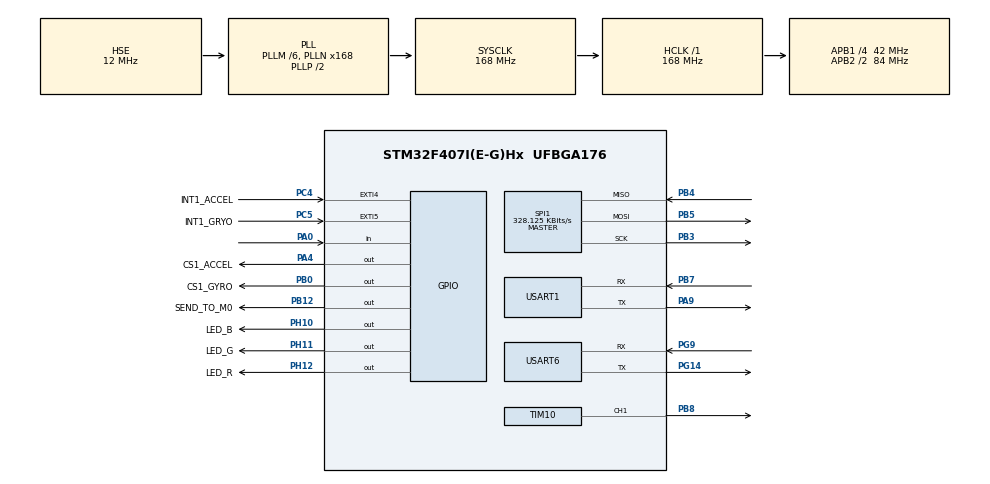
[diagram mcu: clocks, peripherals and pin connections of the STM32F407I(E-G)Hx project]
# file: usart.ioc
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Dma.Request0=USART6_RX
Dma.Request1=USART6_TX
Dma.Request2=SPI1_RX
Dma.Request3=SPI1_TX
Dma.SPI1_RX.2.Direction=DMA_PERIPH_TO_MEMORY
Dma.SPI1_RX.2.FIFOMode=DMA_FIFOMODE_DISABLE
Dma.SPI1_RX.2.Instance=DMA2_Stream0
Dma.SPI1_RX.2.MemDataAlignment=DMA_MDATAALIGN_BYTE
Dma.SPI1_RX.2.MemInc=DMA_MINC_ENABLE
Dma.SPI1_RX.2.Mode=DMA_NORMAL
Dma.SPI1_RX.2.PeriphDataAlignment=DMA_PDATAALIGN_BYTE
Dma.SPI1_RX.2.PeriphInc=DMA_PINC_DISABLE
Dma.SPI1_RX.2.Priority=DMA_PRIORITY_VERY_HIGH
Dma.SPI1_TX.3.Direction=DMA_MEMORY_TO_PERIPH
Dma.SPI1_TX.3.FIFOMode=DMA_FIFOMODE_DISABLE
Dma.SPI1_TX.3.Instance=DMA2_Stream3
Dma.SPI1_TX.3.MemDataAlignment=DMA_MDATAALIGN_BYTE
Dma.SPI1_TX.3.MemInc=DMA_MINC_ENABLE
Dma.SPI1_TX.3.Mode=DMA_NORMAL
Dma.SPI1_TX.3.PeriphDataAlignment=DMA_PDATAALIGN_BYTE
Dma.SPI1_TX.3.PeriphInc=DMA_PINC_DISABLE
Dma.SPI1_TX.3.Priority=DMA_PRIORITY_HIGH
Dma.USART6_RX.0.Direction=DMA_PERIPH_TO_MEMORY
Dma.USART6_RX.0.FIFOMode=DMA_FIFOMODE_DISABLE
Dma.USART6_RX.0.Instance=DMA2_Stream1
Dma.USART6_RX.0.MemDataAlignment=DMA_MDATAALIGN_BYTE
Dma.USART6_RX.0.MemInc=DMA_MINC_ENABLE
Dma.USART6_RX.0.Mode=DMA_NORMAL
Dma.USART6_RX.0.PeriphDataAlignment=DMA_PDATAALIGN_BYTE
Dma.USART6_RX.0.PeriphInc=DMA_PINC_DISABLE
Dma.USART6_RX.0.Priority=DMA_PRIORITY_MEDIUM
Dma.USART6_TX.1.Direction=DMA_MEMORY_TO_PERIPH
Dma.USART6_TX.1.FIFOMode=DMA_FIFOMODE_DISABLE
Dma.USART6_TX.1.Instance=DMA2_Stream6
Dma.USART6_TX.1.MemDataAlignment=DMA_MDATAALIGN_BYTE
Dma.USART6_TX.1.MemInc=DMA_MINC_ENABLE
Dma.USART6_TX.1.Mode=DMA_NORMAL
Dma.USART6_TX.1.PeriphDataAlignment=DMA_PDATAALIGN_BYTE
Dma.USART6_TX.1.PeriphInc=DMA_PINC_DISABLE
Dma.USART6_TX.1.Priority=DMA_PRIORITY_MEDIUM
Mcu.Family=STM32F4
Mcu.Name=STM32F407I(E-G)Hx
Mcu.Package=UFBGA176
NVIC.DMA2_Stream0_IRQn=true\:0\:0\:false\:false\:true\:false\:true\:true
NVIC.DMA2_Stream1_IRQn=true\:0\:0\:false\:false\:true\:false\:true\:true
NVIC.DMA2_Stream3_IRQn=true\:0\:0\:false\:false\:true\:false\:true\:true
NVIC.DMA2_Stream6_IRQn=true\:0\:0\:false\:false\:true\:false\:true\:true
NVIC.PriorityGroup=NVIC_PRIORITYGROUP_4
NVIC.USART1_IRQn=true\:0\:0\:false\:false\:false\:true\:true\:true
NVIC.USART6_IRQn=true\:0\:0\:false\:false\:false\:true\:true\:true
PA0-WKUP.GPIO_PuPd=GPIO_PULLUP
PA0-WKUP.Signal=GPIO_Input
PA13.Mode=Serial_Wire
PA13.Signal=SYS_JTMS-SWDIO
PA14.Mode=Serial_Wire
PA14.Signal=SYS_JTCK-SWCLK
PA4.GPIO_Label=CS1_ACCEL
PA4.GPIO_PuPd=GPIO_PULLUP
PA4.GPIO_Speed=GPIO_SPEED_FREQ_HIGH
PA4.PinState=GPIO_PIN_SET
PA4.Signal=GPIO_Output
PA9.Mode=Asynchronous
PA9.Signal=USART1_TX
PB0.GPIO_Label=CS1_GYRO
PB0.GPIO_PuPd=GPIO_PULLUP
PB0.GPIO_Speed=GPIO_SPEED_FREQ_HIGH
PB0.PinState=GPIO_PIN_SET
PB0.Signal=GPIO_Output
PB12.GPIO_Label=SEND_TO_M0
PB12.Signal=GPIO_Output
PB3.Mode=Full_Duplex_Master
PB3.Signal=SPI1_SCK
PB4.Mode=Full_Duplex_Master
PB4.Signal=SPI1_MISO
PB5.Mode=Full_Duplex_Master
PB5.Signal=SPI1_MOSI
PB7.Mode=Asynchronous
PB7.Signal=USART1_RX
PB8.GPIO_PuPd=GPIO_PULLUP
PB8.GPIO_Speed=GPIO_SPEED_FREQ_HIGH
PB8.Signal=S_TIM10_CH1
PC4.GPIO_Label=INT1_ACCEL
PC4.GPIO_ModeDefaultEXTI=GPIO_MODE_IT_FALLING
PC4.GPIO_PuPd=GPIO_PULLUP
PC4.Signal=GPXTI4
PC5.GPIO_Label=INT1_GRYO
PC5.GPIO_ModeDefaultEXTI=GPIO_MODE_IT_FALLING
PC5.GPIO_PuPd=GPIO_PULLUP
PC5.Signal=GPXTI5
PD5.Signal=USART2_TX
PD6.Signal=USART2_RX
PG14.Mode=Asynchronous
PG14.Signal=USART6_TX
PG9.Mode=Asynchronous
PG9.Signal=USART6_RX
PH0-OSC_IN.Mode=HSE-External-Oscillator
PH0-OSC_IN.Signal=RCC_OSC_IN
PH1-OSC_OUT.Mode=HSE-External-Oscillator
PH1-OSC_OUT.Signal=RCC_OSC_OUT
PH10.GPIO_Label=LED_B
PH10.GPIO_PuPd=GPIO_PULLUP
PH10.GPIO_Speed=GPIO_SPEED_FREQ_HIGH
PH10.PinState=GPIO_PIN_RESET
PH10.Signal=GPIO_Output
PH11.GPIO_Label=LED_G
PH11.GPIO_PuPd=GPIO_PULLUP
PH11.GPIO_Speed=GPIO_SPEED_FREQ_HIGH
PH11.PinState=GPIO_PIN_RESET
PH11.Signal=GPIO_Output
PH12.GPIO_Label=LED_R
PH12.GPIO_PuPd=GPIO_PULLUP
PH12.GPIO_Speed=GPIO_SPEED_FREQ_HIGH
PH12.PinState=GPIO_PIN_RESET
PH12.Signal=GPIO_Output
ProjectManager.HeapSize=0x200
ProjectManager.StackSize=0x400
ProjectManager.TargetToolchain=CMake
RCC.48MHZClocksFreq_Value=84000000
RCC.AHBFreq_Value=168000000
RCC.APB1CLKDivider=RCC_HCLK_DIV4
RCC.APB1Freq_Value=42000000
RCC.APB1TimFreq_Value=84000000
RCC.APB2CLKDivider=RCC_HCLK_DIV2
RCC.APB2Freq_Value=84000000
RCC.APB2TimFreq_Value=168000000
RCC.CortexFreq_Value=168000000
RCC.HCLKFreq_Value=168000000
RCC.HSE_VALUE=12000000
RCC.HSI_VALUE=16000000
RCC.LSE_VALUE=32768
RCC.PLLM=6
RCC.PLLN=168
RCC.PLLSourceVirtual=RCC_PLLSOURCE_HSE
RCC.SYSCLKFreq_VALUE=168000000
RCC.SYSCLKSource=RCC_SYSCLKSOURCE_PLLCLK
RCC.VCOOutputFreq_Value=336000000
SH.S_TIM10_CH1.0=TIM10_CH1,PWM Generation1 CH1
SPI1.BaudRatePrescaler=SPI_BAUDRATEPRESCALER_256
SPI1.CLKPhase=SPI_PHASE_2EDGE
SPI1.CLKPolarity=SPI_POLARITY_HIGH
SPI1.CalculateBaudRate=328.125 KBits/s
SPI1.Direction=SPI_DIRECTION_2LINES
SPI1.Mode=SPI_MODE_MASTER
SPI1.VirtualType=VM_MASTER
TIM10.Channel=TIM_CHANNEL_1
TIM10.Period=4999
USART1.VirtualMode=VM_ASYNC
USART6.VirtualMode=VM_ASYNC
VP_TIM10_VS_ClockSourceINT.Mode=Enable_Timer
board=custom

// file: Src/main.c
/* USER CODE BEGIN Header */
/**
  ******************************************************************************
  * @file           : main.c
  * @brief          : 平衡杆小球控制主程序。
  ******************************************************************************
  */
/* USER CODE END Header */

#include "main.h"
#include "dma.h"
#include "spi.h"
#include "tim.h"
#include "usart.h"
#include "gpio.h"

/* USER CODE BEGIN Includes */

#include "bsp_motor.h"
#include "task.h"

/* USER CODE END Includes */

/* USER CODE BEGIN PD */

/** @brief QD4310 电机地址。 */
#define MOTOR_ID              0x00U
/** @brief QD4310 DMA 事务总超时时间，单位为 ms。 */
#define MOTOR_TIMEOUT_MS      100U
/** @brief 任务选择与启动按键端口。 */
#define MOTOR_KEY_PORT        GPIOA
/** @brief 任务选择与启动按键引脚，低电平表示按下。 */
#define MOTOR_KEY_PIN         GPIO_PIN_0
/** @brief 视觉任务选择命令的 USART1 发送超时，单位为 ms。 */
#define VISION_TX_TIMEOUT_MS  100U

/* USER CODE END PD */

/* USER CODE BEGIN PV */

/** @brief USART6 电机 DMA 上下文。 */
static bsp_motor_t motor;
/** @brief 单按键任务选择器和调度器上下文。 */
static task_mgr_t task_mgr;
/** @brief TASK2 视觉控制上下文存储。 */
static app_control_t control;
/** @brief USART1 单字节中断接收缓存。 */
static uint8_t vision_rx_byte;
/** @brief USART1 视觉接收当前是否已启动。 */
static volatile uint8_t vision_rx_on;
/** @brief USART1 视觉接收是否需要由主循环重新启动。 */
static volatile uint8_t vision_rx_restart;

/* USER CODE END PV */

void SystemClock_Config(void);

/* USER CODE BEGIN 0 */

/**
 * @brief Send an application command to the vision module through USART1.
 * @param ctx USART1 handle passed by the board layer.
 * @param data Bytes to transmit.
 * @param len Number of bytes to transmit.
 */
static void Vision_Tx(void *ctx, const uint8_t *data, uint16_t len)
{
  UART_HandleTypeDef *uart = (UART_HandleTypeDef *)ctx;

  if ((uart == NULL) || (data == NULL) || (len == 0U))
  {
    return;
  }

  (void)HAL_UART_Transmit(uart, (uint8_t *)data, len, VISION_TX_TIMEOUT_MS);
}

/**
 * @brief 根据当前任务启停 USART1 视觉中断接收。
 * @param enable 非零表示启动视觉接收，零表示完全挂起接收。
 */
static void VisionRx_Service(uint8_t enable)
{
  if (enable == 0U)
  {
    if ((vision_rx_on != 0U) || (vision_rx_restart != 0U))
    {
      /* 先清运行标志，避免完成回调在关闭期间重新挂接接收。 */
      vision_rx_on = 0U;
      vision_rx_restart = 0U;
      (void)HAL_UART_AbortReceive(&huart1);
    }
    return;
  }

  if ((vision_rx_on != 0U) && (vision_rx_restart == 0U))
  {
    return;
  }

  if (vision_rx_restart != 0U)
  {
    /* 错误后的 HAL 接收状态不确定，先同步复位再重新挂接。 */
    vision_rx_on = 0U;
    (void)HAL_UART_AbortReceive(&huart1);
  }

  /* 丢弃停收期间遗留的字节和溢出标志，只接收当前任务的新帧。 */
  __HAL_UART_CLEAR_OREFLAG(&huart1);
  vision_rx_restart = 0U;
  if (HAL_UART_Receive_IT(&huart1, &vision_rx_byte, 1U) == HAL_OK)
  {
    vision_rx_on = 1U;
  }
  else
  {
    vision_rx_on = 0U;
    vision_rx_restart = 1U;
  }
}

/**
 * @brief UART DMA 发送完成回调。
 * @param huart 触发回调的 UART 句柄。
 */
void HAL_UART_TxCpltCallback(UART_HandleTypeDef *huart)
{
  if ((huart != NULL) && (huart->Instance == USART6))
  {
    BSP_MOTOR_OnTxComplete(&motor);
  }
}

/**
 * @brief UART 接收完成回调。
 * @param huart 触发回调的 UART 句柄。
 */
void HAL_UART_RxCpltCallback(UART_HandleTypeDef *huart)
{
  if ((huart != NULL) && (huart->Instance == USART1))
  {
    if (vision_rx_on != 0U)
    {
      TASK_VisionRxByte(&task_mgr, vision_rx_byte);
      if (HAL_UART_Receive_IT(&huart1, &vision_rx_byte, 1U) != HAL_OK)
      {
        vision_rx_restart = 1U;
      }
    }
  }
  else if ((huart != NULL) && (huart->Instance == USART6))
  {
    BSP_MOTOR_OnRxComplete(&motor);
  }
}

/**
 * @brief UART 接收或 DMA 错误回调。
 * @param huart 发生错误的 UART 句柄。
 */
void HAL_UART_ErrorCallback(UART_HandleTypeDef *huart)
{
  if ((huart != NULL) && (huart->Instance == USART1))
  {
    if (vision_rx_on != 0U)
    {
      vision_rx_restart = 1U;
    }
  }
  else if ((huart != NULL) && (huart->Instance == USART6))
  {
    BSP_MOTOR_OnError(&motor);
  }
}

/* USER CODE END 0 */

int main(void)
{
  /* USER CODE BEGIN 1 */

  uint32_t now_ms;
  bsp_motor_err_t motor_err;
  task_err_t task_err;

  /* USER CODE END 1 */

  /* MCU Configuration--------------------------------------------------------*/

  /* Reset of all peripherals, Initializes the Flash interface and the Systick. */
  HAL_Init();

  /* Configure the system clock */
  SystemClock_Config();

  /* Initialize all configured peripherals */
  MX_GPIO_Init();
  MX_DMA_Init();
  MX_USART1_UART_Init();
  MX_USART6_UART_Init();
  MX_SPI1_Init();
  MX_TIM10_Init();
  /* USER CODE BEGIN 2 */

  motor_err = BSP_MOTOR_Init(&motor, &huart6, MOTOR_ID,
                             MOTOR_TIMEOUT_MS);
  task_err = TASK_Init(&task_mgr, &motor, &control, Vision_Tx, &huart1);
  vision_rx_on = 0U;
  vision_rx_restart = 0U;

  if ((motor_err != BSP_MOTOR_OK) || (task_err != TASK_OK))
  {
    Error_Handler();
  }

  /* USER CODE END 2 */

  /* Infinite loop */
  while (1)
  {

    /* USER CODE BEGIN 3 */
    now_ms = HAL_GetTick();

    (void)TASK_Run(
        &task_mgr, now_ms,
        (uint8_t)(HAL_GPIO_ReadPin(MOTOR_KEY_PORT, MOTOR_KEY_PIN) ==
                  GPIO_PIN_RESET));
    VisionRx_Service(TASK_NeedsVisionRx(&task_mgr));
  }
  /* USER CODE END 3 */
}

void SystemClock_Config(void)
{
  RCC_OscInitTypeDef RCC_OscInitStruct = {0};
  RCC_ClkInitTypeDef RCC_ClkInitStruct = {0};

  /** Configure the main internal regulator output voltage
  */
  __HAL_RCC_PWR_CLK_ENABLE();
  __HAL_PWR_VOLTAGESCALING_CONFIG(PWR_REGULATOR_VOLTAGE_SCALE1);
  /** Initializes the CPU, AHB and APB busses clocks
  */
  RCC_OscInitStruct.OscillatorType = RCC_OSCILLATORTYPE_HSE;
  RCC_OscInitStruct.HSEState = RCC_HSE_ON;
  RCC_OscInitStruct.PLL.PLLState = RCC_PLL_ON;
  RCC_OscInitStruct.PLL.PLLSource = RCC_PLLSOURCE_HSE;
  RCC_OscInitStruct.PLL.PLLM = 6;
  RCC_OscInitStruct.PLL.PLLN = 168;
  RCC_OscInitStruct.PLL.PLLP = RCC_PLLP_DIV2;
  RCC_OscInitStruct.PLL.PLLQ = 4;
  if (HAL_RCC_OscConfig(&RCC_OscInitStruct) != HAL_OK)
  {
    Error_Handler();
  }
  /** Initializes the CPU, AHB and APB busses clocks
  */
  RCC_ClkInitStruct.ClockType = RCC_CLOCKTYPE_HCLK|RCC_CLOCKTYPE_SYSCLK
                              |RCC_CLOCKTYPE_PCLK1|RCC_CLOCKTYPE_PCLK2;
  RCC_ClkInitStruct.SYSCLKSource = RCC_SYSCLKSOURCE_PLLCLK;
  RCC_ClkInitStruct.AHBCLKDivider = RCC_SYSCLK_DIV1;
  RCC_ClkInitStruct.APB1CLKDivider = RCC_HCLK_DIV4;
  RCC_ClkInitStruct.APB2CLKDivider = RCC_HCLK_DIV2;

  if (HAL_RCC_ClockConfig(&RCC_ClkInitStruct, FLASH_LATENCY_5) != HAL_OK)
  {
    Error_Handler();
  }
}

void Error_Handler(void)
{
}

/************************ (C) COPYRIGHT STMicroelectronics *****END OF FILE****/
